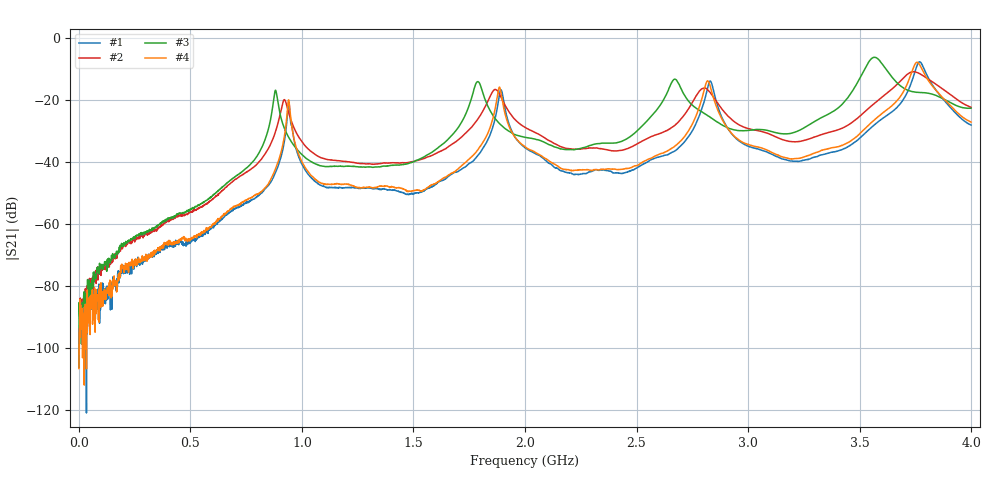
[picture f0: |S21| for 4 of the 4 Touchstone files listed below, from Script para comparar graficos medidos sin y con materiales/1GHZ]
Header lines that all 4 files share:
! NanoVNA-App
! Start: 10kHz Stop: 4GHz Points: 3201
! S-Parameter data: F S11 S21 S12 S22
# Hz S RI R 50
!  Frequency  S11_Real  S11_Imag  S21_Real  S21_Imag  S12_Real  S12_Imag  S22_Real  S22_Imag
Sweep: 10 kHz to 4 GHz
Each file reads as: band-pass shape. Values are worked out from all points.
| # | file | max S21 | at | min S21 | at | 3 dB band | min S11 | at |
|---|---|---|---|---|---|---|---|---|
| 1 | 1Ghz PP Rogers Taco Madera_puntos.s2p | -7.78 dB | 3.769 GHz | -121.1 dB | 33.76 MHz | 3.75 GHz-3.793 GHz | -8.4 dB | 2.83 GHz |
| 2 | 1Ghz SodaLime FR4 Taco Madera_puntos.s2p | -10.98 dB | 3.743 GHz | -103.8 dB | 10 kHz | 3.684 GHz-3.82 GHz | -8.2 dB | 3.641 GHz |
| 3 | 1Ghz SodaLime Rogers Taco Madera_puntos.s2p | -6.33 dB | 3.566 GHz | -106.5 dB | 10 kHz | 3.53 GHz-3.61 GHz | -7.3 dB | 3.62 GHz |
| 4 | 1Ghz Teflon Rogers Taco Madera_puntos.s2p | -7.95 dB | 3.759 GHz | -112.1 dB | 23.76 MHz | 3.736 GHz-3.785 GHz | -6.5 dB | 2.819 GHz |
